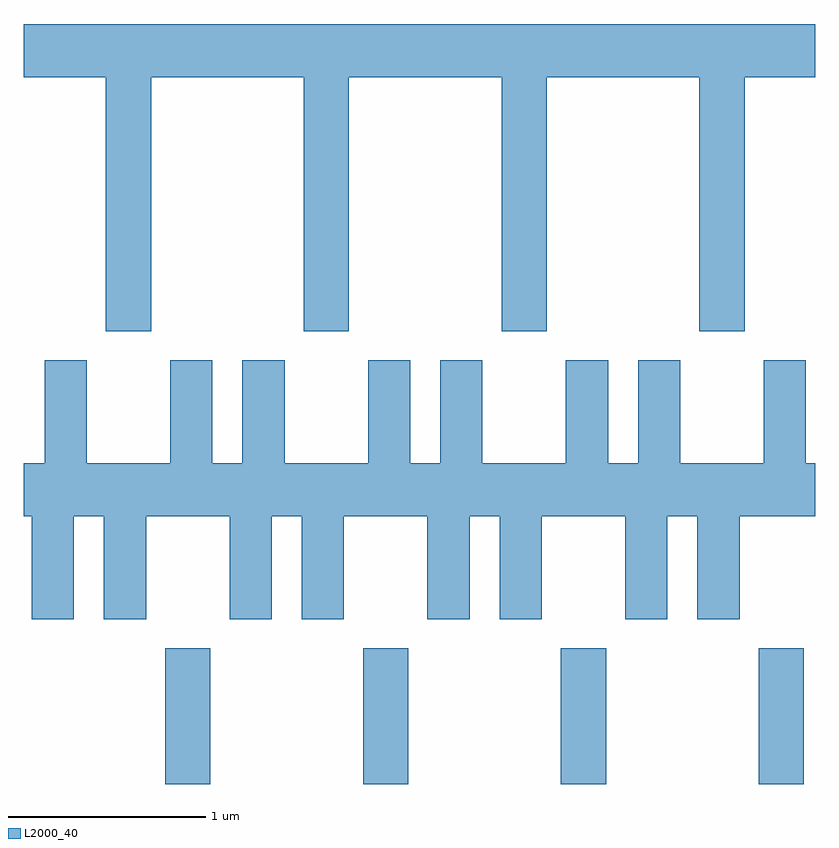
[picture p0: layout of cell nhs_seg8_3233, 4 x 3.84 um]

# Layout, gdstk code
import gdstk
lib = gdstk.Library(unit=1e-6, precision=1e-09)
def R(c, l, rs):  # rectangles x0, y0, x1, y1
    for r in rs: c.add(gdstk.rectangle(r[:2], r[2:], *l))
def A(c, l, x, y, w, h, nx, ny, dx, dy):  # array of equal rectangles
    R(c, l, [(x+i*dx, y+j*dy, x+i*dx+w, y+j*dy+h) for i in range(nx) for j in range(ny)])
def P(c, l, *ps):  # polygons
    for p in ps: c.add(gdstk.Polygon(p, *l))
L2000_40 = (2000, 40)

nhs_seg8_3233 = lib.new_cell('nhs_seg8_3233')
A(nhs_seg8_3233, L2000_40, 282.326, 1888.342, 0.228, 0.687, 4, 1, 1, 0)
P(nhs_seg8_3233, L2000_40, [(282.254,1891.916),(283.026,1891.916),(283.026,1890.631),(283.254,1890.631),(283.254,1891.916),(284.026,1891.916),(284.026,1890.631),(284.254,1890.631),(284.254,1891.916),(285.026,1891.916),(285.026,1890.631),(285.254,1890.631),(285.254,1891.916),(285.611,1891.916),(285.611,1892.184),(281.611,1892.184),(281.611,1891.916),(282.026,1891.916),(282.026,1890.631),(282.254,1890.631)],
  [(281.864,1889.696),(282.016,1889.696),(282.016,1889.176),(282.229,1889.176),(282.229,1889.696),(282.651,1889.696),(282.651,1889.176),(282.864,1889.176),(282.864,1889.696),(283.016,1889.696),(283.016,1889.176),(283.229,1889.176),(283.229,1889.696),(283.651,1889.696),(283.651,1889.176),(283.864,1889.176),(283.864,1889.696),(284.016,1889.696),(284.016,1889.176),(284.229,1889.176),(284.229,1889.696),(284.651,1889.696),(284.651,1889.176),(284.864,1889.176),(284.864,1889.696),(285.016,1889.696),(285.016,1889.176),(285.229,1889.176),(285.229,1889.696),(285.611,1889.696),(285.611,1889.964),(285.564,1889.964),(285.564,1890.484),(285.351,1890.484),(285.351,1889.964),(284.929,1889.964),(284.929,1890.484),(284.716,1890.484),(284.716,1889.964),(284.564,1889.964),(284.564,1890.484),(284.351,1890.484),(284.351,1889.964),(283.929,1889.964),(283.929,1890.484),(283.716,1890.484),(283.716,1889.964),(283.564,1889.964),(283.564,1890.484),(283.351,1890.484),(283.351,1889.964),(282.929,1889.964),(282.929,1890.484),(282.716,1890.484),(282.716,1889.964),(282.564,1889.964),(282.564,1890.484),(282.351,1890.484),(282.351,1889.964),(281.929,1889.964),(281.929,1890.484),(281.716,1890.484),(281.716,1889.964),(281.611,1889.964),(281.611,1889.696),(281.651,1889.696),(281.651,1889.176),(281.864,1889.176)])

lib.write_gds('nhs_seg8_3233.gds')
